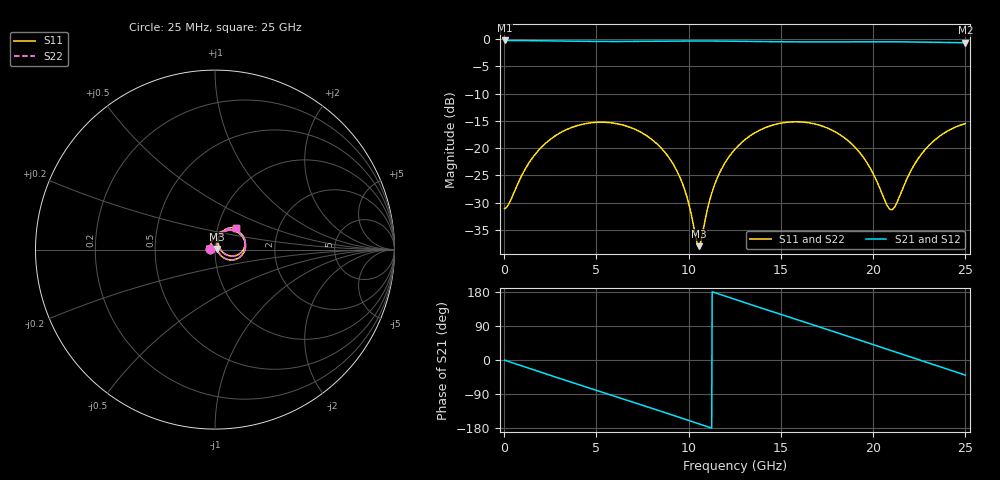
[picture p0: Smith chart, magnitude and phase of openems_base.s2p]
! thru_BV_vna_clk_w5_out: 2×thru In3.Cu, 6 mm
! stackup: as the board case
! ports: 1 near, 2 far
! openEMS 0.37.0, staircase, base mesh (dfine 0.07 mm), 264384 cells
# Hz S RI R 50
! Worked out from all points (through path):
!   1000 points, 25 MHz to 25 GHz, reference 50 ohm
!   highest |S21| = -0.25 dB at 25 MHz (marker M1); lowest = -0.7 dB at 25 GHz (marker M2)
!   group delay of S21, straight-line fit = 44.4 ps
!   lowest |S11| = -38.0 dB at 10.55 GHz (marker M3), VSWR 1.03, Z = 51.2 + j0.341 ohm
!   |S11| at or under -10 dB: start of sweep to end of sweep
!   |S22| runs from -38.0 to -15.2 dB; largest |S21 - S12| = 0
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2.5e7  -0.0278 0.00149  0.9721 -0.00691  0.9721 -0.00691  -0.0278 0.00149
1.9e9  0.0242 0.0938  0.8299 -0.4958  0.8299 -0.4958  0.0242 0.0938
2.95e9  0.0803 0.109  0.6468 -0.7106  0.6468 -0.7106  0.0803 0.109
4.2e9  0.1406 0.0858  0.3655 -0.8817  0.3655 -0.8817  0.1406 0.0858
6.25e9  0.1656 -0.00518  -0.1593 -0.9376  -0.1593 -0.9376  0.1656 -0.00518
8.35e9  0.0897 -0.0578  -0.6508 -0.7015  -0.6508 -0.7015  0.0897 -0.0578
9.575e9  0.0365 -0.0366  -0.8522 -0.4431  -0.8522 -0.4431  0.0365 -0.0366
9.925e9  0.0252 -0.024  -0.8923 -0.3572  -0.8923 -0.3572  0.0252 -0.024
1.04e10  0.0144 -0.00364  -0.9324 -0.2346  -0.9324 -0.2346  0.0144 -0.00364
1.055e10  0.0121 0.00333  -0.9415 -0.1949  -0.9415 -0.1949  0.0121 0.00333
1.145e10  0.0119 0.0467  -0.959 0.0484  -0.959 0.0484  0.0119 0.0467
1.2525e10  0.039 0.0901  -0.8973 0.331  -0.8973 0.331  0.039 0.0901
1.47e10  0.1329 0.0979  -0.5437 0.7746  -0.5437 0.7746  0.1329 0.0979
1.6675e10  0.1671 0.024  -0.0636 0.9408  -0.0636 0.9408  0.1671 0.024
1.7875e10  0.1416 -0.0198  0.2474 0.9113  0.2474 0.9113  0.1416 -0.0198
1.9075e10  0.0926 -0.036  0.535 0.7806  0.535 0.7806  0.0926 -0.036
1.9875e10  0.0584 -0.0263  0.6965 0.6415  0.6965 0.6415  0.0584 -0.0263
2.085e10  0.0276 0.00521  0.8442 0.4268  0.8442 0.4268  0.0276 0.00521
2.1175e10  0.0219 0.019  0.8791 0.347  0.8791 0.347  0.0219 0.019
2.21e10  0.0203 0.0611  0.9355 0.1072  0.9355 0.1072  0.0203 0.0611
2.29e10  0.0362 0.0936  0.9317 -0.1042  0.9317 -0.1042  0.0362 0.0936
2.5e10  0.119 0.1184  0.71 -0.5948  0.71 -0.5948  0.119 0.1184
